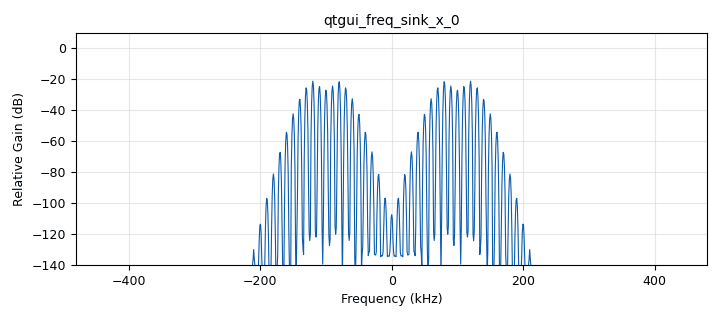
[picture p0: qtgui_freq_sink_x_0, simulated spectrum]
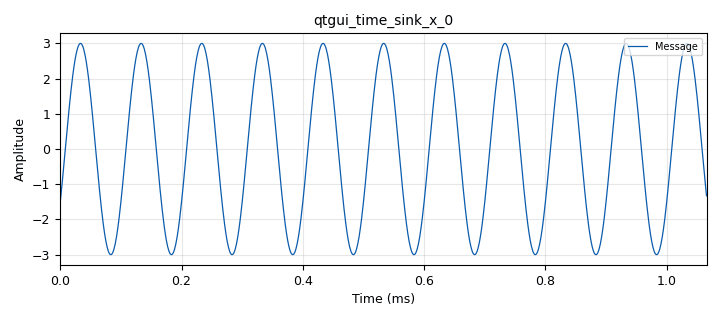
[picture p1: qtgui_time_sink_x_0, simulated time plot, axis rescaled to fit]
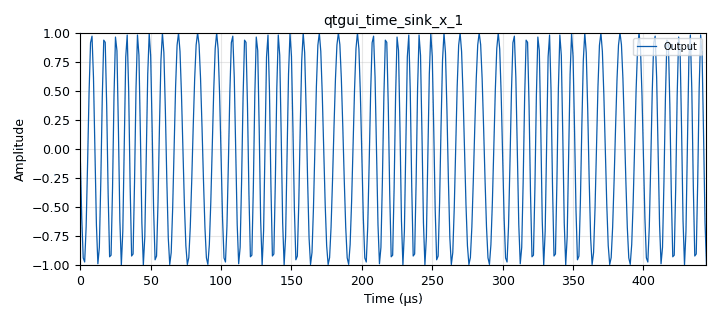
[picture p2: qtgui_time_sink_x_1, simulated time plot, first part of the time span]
options:
  parameters:
    generate_options: qt_gui
    id: part_3
    output_language: python
    title: Part 3
  states: {}

blocks:
- name: samp_rate
  id: variable
  parameters:
    value: '960000'
  states: {}
- name: analog_phase_modulator_fc_0
  id: analog_phase_modulator_fc
  parameters:
    sensitivity: '62800'
  states: {}
- name: analog_sig_source_x_0
  id: analog_sig_source_x
  parameters:
    amp: '3'
    freq: '10000'
    offset: '0'
    phase: '0'
    samp_rate: samp_rate
    type: float
    waveform: analog.GR_COS_WAVE
  states: {}
- name: analog_sig_source_x_1
  id: analog_sig_source_x
  parameters:
    amp: '1'
    freq: '100000'
    offset: '0'
    phase: '0'
    samp_rate: samp_rate
    type: complex
    waveform: analog.GR_COS_WAVE
  states: {}
- name: blocks_complex_to_real_0
  id: blocks_complex_to_real
  parameters: {}
  states: {}
- name: blocks_multiply_xx_0
  id: blocks_multiply_xx
  parameters:
    type: complex
  states: {}
- name: blocks_throttle_0
  id: blocks_throttle
  parameters:
    samples_per_second: samp_rate
    type: float
  states: {}
- name: iir_filter_xxx_0
  id: iir_filter_xxx
  parameters:
    fbtaps: '[1, 1]'
    fftaps: '1.04167e-6'
    type: ffd
  states: {}
- name: qtgui_freq_sink_x_0
  id: qtgui_freq_sink_x
  parameters:
    bw: samp_rate
    fc: '0'
    fftsize: '1024'
    type: float
    wintype: firdes.WIN_BLACKMAN_hARRIS
  states: {}
- name: qtgui_time_sink_x_0
  id: qtgui_time_sink_x
  parameters:
    label1: Message
    size: '1024'
    srate: samp_rate
    type: float
  states: {}
- name: qtgui_time_sink_x_1
  id: qtgui_time_sink_x
  parameters:
    label1: Output
    size: '1024'
    srate: samp_rate
    type: float
  states: {}

connections:
- [analog_phase_modulator_fc_0, '0', blocks_multiply_xx_0, '0']
- [analog_sig_source_x_0, '0', iir_filter_xxx_0, '0']
- [analog_sig_source_x_0, '0', qtgui_time_sink_x_0, '0']
- [analog_sig_source_x_1, '0', blocks_multiply_xx_0, '1']
- [blocks_complex_to_real_0, '0', blocks_throttle_0, '0']
- [blocks_multiply_xx_0, '0', blocks_complex_to_real_0, '0']
- [blocks_throttle_0, '0', qtgui_freq_sink_x_0, '0']
- [blocks_throttle_0, '0', qtgui_time_sink_x_1, '0']
- [iir_filter_xxx_0, '0', analog_phase_modulator_fc_0, '0']

metadata:
  file_format: 1
